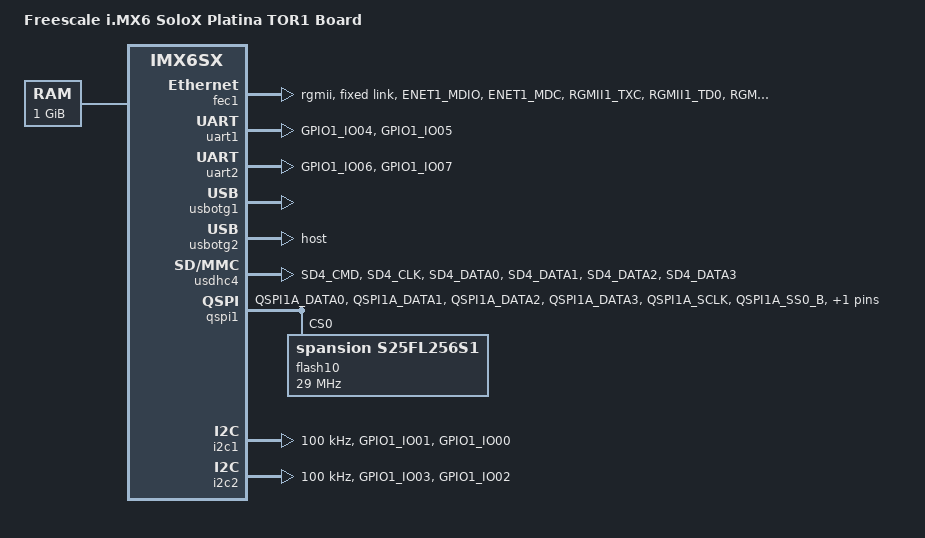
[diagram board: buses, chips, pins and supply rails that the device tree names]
/*
 * Copyright (C) 2015-2016 Platina Systems, Inc.
 *
 * This program is free software; you can redistribute it and/or modify
 * it under the terms of the GNU General Public License version 2 as
 * published by the Free Software Foundation.
 */

/dts-v1/;

#include <dt-bindings/gpio/gpio.h>
#include <dt-bindings/input/input.h>
#include "imx6sx.dtsi"

/ {
	model = "Freescale i.MX6 SoloX Platina TOR1 Board";
	compatible = "platina,platina-TOR1", "fsl,imx6sx-sdb", "fsl,imx6sx";

	chosen {
		stdout-path = &uart1;
	};

	memory {
		reg = <0x80000000 0x40000000>;
	};

};

&fec1 {
	status = "okay";
	pinctrl-names = "default";
	pinctrl-0 = <&pinctrl_enet1>;
	phy-mode = "rgmii";
	fixed-link {
	      speed = <1000>;
	      full-duplex;
	};
};

&uart1 {
	pinctrl-names = "default";
	pinctrl-0 = <&pinctrl_uart1>;
	status = "okay";
};

&uart2 {
	pinctrl-names = "default";
	pinctrl-0 = <&pinctrl_uart2>;
	status = "okay";
};

&usbotg1 {			/* onboard debug */
	pinctrl-names = "default";
	status = "okay";
};


&usbotg2 { 			/* used for front faceplate */
	dr_mode = "host";
	status = "okay";
};


&usdhc4 {
	pinctrl-names = "default";
	pinctrl-0 = <&pinctrl_usdhc4>;
	status = "okay";
};


/* Added new Quad-SPI1 node for TOR1 */
/*   	      	       	    	     */
&qspi1 {
       pinctrl-names = "default";
       pinctrl-0 = <&pinctrl_qspi1>;
       status = "okay";

	ddrsmp = <0>;		/* DDR internal Sampling */

       flash10: s25fl256s1@0 {
		#address-cells = <1>;
		#size-cells = <1>;
		compatible = "spansion,s25fl256s1";
		spi-max-frequency = <29000000>;
		reg = <0>;
	};

/*
	flash11: s25fl512s@1 {
		#address-cells = <1>;
		#size-cells = <1>;
		compatible = "spansion,s25fl512s";
		spi-max-frequency = <29000000>;
		reg = <1>;
	};

     	flash12: s25fl512s@2 {
		#address-cells = <1>;
		#size-cells = <1>;
		compatible = "spansion,s25fl512s";
		spi-max-frequency = <29000000>;
		reg = <2>;
	};

	flash13: s25fl512s@3 {
		#address-cells = <1>;
		#size-cells = <1>;
		compatible = "spansion,s25fl512s";
		spi-max-frequency = <29000000>;
		reg = <3>;
	};

*/

};

/* Node Quad-SPI2 is not used on TOR1 */
/* 		     	      	      */
/*
&qspi2 {
	pinctrl-names = "default";
	pinctrl-0 = <&pinctrl_qspi2>;
	status = "disabled";		
}; */

/* Disabling SPI5 since it's not used on TOR1 	*/
/* and some of its pins are shared w/ QSPI	*/
/* 	     	  	     	      	      
&ecspi5 {
	pinctrl-names = "default";
	pinctrl-0 = <&pinctrl_ecspi5>;
	status = "disabled";	

	spiflash0: macronix@0 {
		#address-cells = <1>;
		#size-cells = <1>;
		compatible = "macronix,mx66l51235l";
		spi-max-frequency = <29000000>;
		reg = <0>;
		partition@0 {
			label = "u-boot";
			reg = <0x00000000 0x00100000>;
		};
		partition@100000 {
			label = "linux";
			reg = <0x00100000 0x04000000>;
		};
	};
}; */

/* not used*/
/*
&ecspi4 {
	pinctrl-names = "default";
	pinctrl-0 = <&pinctrl_ecspi4>;
	status = "okay";
};
*/
&iomuxc {
	pinctrl-names = "default";
	pinctrl-0 = <&pinctrl_hog>;

	platina-TOR1 {
        	pinctrl_hog: hoggrp {
			fsl,pins = <
				MX6SX_PAD_GPIO1_IO08__GPIO1_IO_8	0x07030
				MX6SX_PAD_GPIO1_IO09__GPIO1_IO_9 	0x07030
				MX6SX_PAD_GPIO1_IO10__GPIO1_IO_10	0x00868
				MX6SX_PAD_GPIO1_IO11__GPIO1_IO_11	0x00068
				MX6SX_PAD_GPIO1_IO12__GPIO1_IO_12	0x00068
				MX6SX_PAD_GPIO1_IO13__GPIO1_IO_13	0x00868
				
				MX6SX_PAD_ENET1_COL__GPIO2_IO_0		0x05030
				MX6SX_PAD_ENET2_CRS__GPIO2_IO_7 	0x05030
				MX6SX_PAD_ENET2_RX_CLK__GPIO2_IO_8	0x00068
				MX6SX_PAD_KEY_COL0__GPIO2_IO_10		0x00068
				MX6SX_PAD_KEY_COL1__GPIO2_IO_11		0x00068
				MX6SX_PAD_KEY_COL2__GPIO2_IO_12		0x05030
				MX6SX_PAD_KEY_COL3__GPIO2_IO_13		0x05030
				MX6SX_PAD_KEY_ROW0__GPIO2_IO_15		0x05030
				MX6SX_PAD_KEY_ROW1__GPIO2_IO_16		0x05030
				MX6SX_PAD_KEY_ROW2__GPIO2_IO_17		0x05030
				MX6SX_PAD_KEY_ROW3__GPIO2_IO_18		0x05030

				MX6SX_PAD_LCD1_CLK__GPIO3_IO_0		0x05030
				MX6SX_PAD_LCD1_ENABLE__GPIO3_IO_25	0x00868
				MX6SX_PAD_LCD1_HSYNC__GPIO3_IO_26 	0x00068
				MX6SX_PAD_LCD1_VSYNC__GPIO3_IO_28	0x05030

				MX6SX_PAD_NAND_ALE__GPIO4_IO_0  	0x00068
				MX6SX_PAD_NAND_CE0_B__GPIO4_IO_1 	0x00068
				MX6SX_PAD_NAND_CE1_B__GPIO4_IO_2 	0x00068
				MX6SX_PAD_NAND_CLE__GPIO4_IO_3  	0x05030
				MX6SX_PAD_NAND_DATA00__GPIO4_IO_4 	0x05030
				MX6SX_PAD_NAND_DATA01__GPIO4_IO_5	0x05030
				MX6SX_PAD_NAND_DATA02__GPIO4_IO_6	0x03068	
				MX6SX_PAD_NAND_DATA03__GPIO4_IO_7	0x05030
				MX6SX_PAD_NAND_DATA04__GPIO4_IO_8 	0x05030
				MX6SX_PAD_NAND_DATA05__GPIO4_IO_9 	0x05030
				MX6SX_PAD_NAND_DATA06__GPIO4_IO_10	0x03068
				MX6SX_PAD_NAND_DATA07__GPIO4_IO_11 	0x05030
				MX6SX_PAD_NAND_RE_B__GPIO4_IO_12   	0x07030
				MX6SX_PAD_NAND_READY_B__GPIO4_IO_13	0x00000	/* unused */
				MX6SX_PAD_NAND_WE_B__GPIO4_IO_14        0x00000 /* usused */
				MX6SX_PAD_NAND_WP_B__GPIO4_IO_15 	0x05030

				MX6SX_PAD_QSPI1B_DATA0__GPIO4_IO_24     0x0068
                                MX6SX_PAD_QSPI1B_DATA1__GPIO4_IO_25     0x0068
                                MX6SX_PAD_QSPI1B_DATA2__GPIO4_IO_26     0x0068
                                MX6SX_PAD_QSPI1B_DATA3__GPIO4_IO_27     0x0000 /* unused */
                                MX6SX_PAD_QSPI1B_DQS__GPIO4_IO_28       0x0000 /* unused */
				MX6SX_PAD_QSPI1B_SCLK__GPIO4_IO_29      0x0068
                                MX6SX_PAD_QSPI1B_SS0_B__GPIO4_IO_30     0x0068
                                MX6SX_PAD_QSPI1B_SS1_B__GPIO4_IO_31     0x0068


				MX6SX_PAD_SD2_CLK__GPIO6_IO_6		0x00068
				MX6SX_PAD_SD2_CMD__GPIO6_IO_7  		0x00068
				MX6SX_PAD_SD2_DATA0__GPIO6_IO_8  	0x00868
				MX6SX_PAD_SD2_DATA1__GPIO6_IO_9		0x00868
				MX6SX_PAD_SD2_DATA2__GPIO6_IO_10   	0x00068
				MX6SX_PAD_SD2_DATA3__GPIO6_IO_11 	0x00000	/* unused */
				MX6SX_PAD_SD4_DATA6__GPIO6_IO_20 	0x07030
				MX6SX_PAD_SD4_DATA7__GPIO6_IO_21	0x00068
			>;
		};

		pinctrl_enet1: enet1grp {
			fsl,pins = <
				MX6SX_PAD_ENET1_MDIO__ENET1_MDIO	0xa0b1
				MX6SX_PAD_ENET1_MDC__ENET1_MDC		0xa0b1
				MX6SX_PAD_RGMII1_TXC__ENET1_RGMII_TXC	0xa0b1
				MX6SX_PAD_RGMII1_TD0__ENET1_TX_DATA_0	0xa0b1
				MX6SX_PAD_RGMII1_TD1__ENET1_TX_DATA_1	0xa0b1
				MX6SX_PAD_RGMII1_TD2__ENET1_TX_DATA_2	0xa0b1
				MX6SX_PAD_RGMII1_TD3__ENET1_TX_DATA_3	0xa0b1
				MX6SX_PAD_RGMII1_TX_CTL__ENET1_TX_EN	0xa0b1
				MX6SX_PAD_RGMII1_RXC__ENET1_RX_CLK	0x3081
				MX6SX_PAD_RGMII1_RD0__ENET1_RX_DATA_0	0x3081
				MX6SX_PAD_RGMII1_RD1__ENET1_RX_DATA_1	0x3081
				MX6SX_PAD_RGMII1_RD2__ENET1_RX_DATA_2	0x3081
				MX6SX_PAD_RGMII1_RD3__ENET1_RX_DATA_3	0x3081
				MX6SX_PAD_RGMII1_RX_CTL__ENET1_RX_EN	0x3081
			>;
		};

		pinctrl_i2c1: i2c1grp {
			fsl,pins = <
				MX6SX_PAD_GPIO1_IO01__I2C1_SDA		0x400198b1
				MX6SX_PAD_GPIO1_IO00__I2C1_SCL		0x400198b1
			>;
		};

		pinctrl_i2c2: i2c2grp {
			fsl,pins = <
				MX6SX_PAD_GPIO1_IO03__I2C2_SDA		0x400198b1
				MX6SX_PAD_GPIO1_IO02__I2C2_SCL		0x400198b1
			>;
		};

		pinctrl_i2c3: i2c3grp {
			fsl,pins = <
				MX6SX_PAD_KEY_ROW4__I2C3_SDA		0x400198b1
				MX6SX_PAD_KEY_COL4__I2C3_SCL		0x400198b1
			>;
		};

		pinctrl_uart1: uart1grp {
			fsl,pins = <
				MX6SX_PAD_GPIO1_IO04__UART1_TX		0x1b0b1
				MX6SX_PAD_GPIO1_IO05__UART1_RX		0x1b0b1
			>;
		};

		pinctrl_uart2: uart2grp {
			fsl,pins = <
				MX6SX_PAD_GPIO1_IO06__UART2_TX		0x1b0b1
				MX6SX_PAD_GPIO1_IO07__UART2_RX		0x1b0b1
			>;
		};


		pinctrl_usdhc4: usdhc4grp {
			fsl,pins = <
				MX6SX_PAD_SD4_CMD__USDHC4_CMD		0x17059
				MX6SX_PAD_SD4_CLK__USDHC4_CLK		0x10059
				MX6SX_PAD_SD4_DATA0__USDHC4_DATA0	0x17059
				MX6SX_PAD_SD4_DATA1__USDHC4_DATA1	0x17059
				MX6SX_PAD_SD4_DATA2__USDHC4_DATA2	0x17059
				MX6SX_PAD_SD4_DATA3__USDHC4_DATA3	0x17059
			>;
		};
		
		/* Defined Pins for Quad-SPI1 node */
		/* 	   	    	      	   */
		pinctrl_qspi1: qspi1grp {
			fsl,pins = <
				 MX6SX_PAD_QSPI1A_DATA0__QSPI1_A_DATA_0	  0x70f1	
				 MX6SX_PAD_QSPI1A_DATA1__QSPI1_A_DATA_1	  0x70f1
				 MX6SX_PAD_QSPI1A_DATA2__QSPI1_A_DATA_2   0x70f1
				 MX6SX_PAD_QSPI1A_DATA3__QSPI1_A_DATA_3	  0x70f1
			  	 MX6SX_PAD_QSPI1A_SCLK__QSPI1_A_SCLK 	  0x70f1
				 MX6SX_PAD_QSPI1A_SS0_B__QSPI1_A_SS0_B	  0x70f1
				 MX6SX_PAD_QSPI1A_SS1_B__QSPI1_A_SS1_B	  0x70f1
				/****
				 MX6SX_PAD_QSPI1B_DATA0__QSPI1_B_DATA_0   0x70f1
				 MX6SX_PAD_QSPI1B_DATA1__QSPI1_B_DATA_1   0x70f1
				 MX6SX_PAD_QSPI1B_DATA2__QSPI1_B_DATA_2	  0x70f1
				 MX6SX_PAD_QSPI1B_DATA3__QSPI1_B_DATA_3	  0x70f1
				 MX6SX_PAD_QSPI1B_SCLK__QSPI1_B_SCLK	  0x70f1
				 MX6SX_PAD_QSPI1B_SS0_B__QSPI1_B_SS0_B 	  0x70f1
				 MX6SX_PAD_QSPI1B_SS1_B__QSPI1_B_SS1_B    0x70f1
				****/
			>;
		};

		/* not used */
		/*
		pinctrl_qspi2: qspi2grp {
			fsl,pins = <
				MX6SX_PAD_NAND_WP_B__QSPI2_A_DATA_0     0x70f1
				MX6SX_PAD_NAND_READY_B__QSPI2_A_DATA_1  0x70f1
				MX6SX_PAD_NAND_CE0_B__QSPI2_A_DATA_2    0x70f1
				MX6SX_PAD_NAND_CE1_B__QSPI2_A_DATA_3    0x70f1
				MX6SX_PAD_NAND_CLE__QSPI2_A_SCLK        0x70f1
				MX6SX_PAD_NAND_ALE__QSPI2_A_SS0_B       0x70f1
				MX6SX_PAD_NAND_DATA01__QSPI2_B_DATA_0   0x70f1
				MX6SX_PAD_NAND_DATA00__QSPI2_B_DATA_1   0x70f1
				MX6SX_PAD_NAND_WE_B__QSPI2_B_DATA_2     0x70f1
				MX6SX_PAD_NAND_RE_B__QSPI2_B_DATA_3     0x70f1
				MX6SX_PAD_NAND_DATA02__QSPI2_B_SCLK     0x70f1
				MX6SX_PAD_NAND_DATA03__QSPI2_B_SS0_B    0x70f1
			>;
		};
		*/

	 	/* not used  */
		/*
		pinctrl_ecspi4: ecspi4grp {
			fsl,pins = <
				MX6SX_PAD_SD3_CLK__ECSPI4_SCLK       0x70f1
				MX6SX_PAD_SD3_CMD__ECSPI4_MOSI     0x70f1
				MX6SX_PAD_SD3_DATA2__ECSPI4_SS0        0x70f1
				MX6SX_PAD_SD3_DATA3__ECSPI4_MISO     0x70f1
			>;
		}; 
		*/
		/* Defined Pins for ecspi5 node */
		/* not used    	     */
		/*
		pinctrl_ecspi5: ecspi5grp {
			fsl,pins = <
				MX6SX_PAD_QSPI1A_DQS__ECSPI5_MOSI       0x70f1
				MX6SX_PAD_QSPI1A_SS1_B__ECSPI5_MISO     0x70f1
				MX6SX_PAD_QSPI1B_DQS__ECSPI5_SS0        0x70f1
				MX6SX_PAD_QSPI1B_SS1_B__ECSPI5_SCLK     0x70f1
			>;
		}; */
	};
};

/* 05/09/16: Updated LOCAL_MUX SPI interface for TOR1	*/
/* 	      	  	    		      		*/
&i2c1 {
	clock-frequency = <100000>;
	pinctrl-names = "default";
	pinctrl-0 = <&pinctrl_i2c1>;
	status = "okay";
};

&i2c2 {
        clock-frequency = <100000>;
        pinctrl-names = "default";
        pinctrl-0 = <&pinctrl_i2c2>;
        status = "okay";
};

&i2c3 {
        clock-frequency = <100000>;
        pinctrl-names = "default";
        pinctrl-0 = <&pinctrl_i2c3>;
	status = "disabled";		/* not used */
};

&gpio1 {
	HOST_TO_BMC_INT_L@8 {
		gpio-pin-desc;
	  	input;
	};
	BMC_TO_HOST_NMI_L@9 {
		gpio-pin-desc;
		output-high;
	};
	BMC_TO_HOST_RST_L@10 {
		gpio-pin-desc;
		output-high;
	};
	BMC_TO_HOST_INT_L@11 {
		gpio-pin-desc;
		output-high;
	};
	P3V3_I2C_EN@12 {
		gpio-pin-desc;
		output-high;
	};
	HWM_RST_L@13 {
	     gpio-pin-desc;
	     output-high;
	};
};

&gpio2 {
	HWM_INT_L@0 {
		gpio-pin-desc;
		input;
	};

	UCD9090_INT_L@7 {
		gpio-pin-desc;
		input;
	};

	UCD9090_CNTRL@8 {
		gpio-pin-desc;
		output-high;
	};

	CPU_TO_MAIN_I2C_EN@10 {
		gpio-pin-desc;
		output-low;
	};	      
	CPU_TO_FRU_I2C_EN@11 {
		gpio-pin-desc;
		output-low;
	};
	I2C_SDA_BMC_MON@12 {
		gpio-pin-desc;
		input;
	};
	I2C_SCL_BMC_MON@13 {
		gpio-pin-desc;
		input;
	};
	I2C1_SCL_MON@15 {
		gpio-pin-desc;
		input;
	};
	I2C1_SDA_MON@16 {
		gpio-pin-desc;
		input;
	};
	I2C2_SCL_MON@17 {
		gpio-pin-desc;
		input;
	};
	I2C2_SDA_MON@18 {
		gpio-pin-desc;
		input;
	};
};		   

&gpio3 {
	ETHX_INT_L@0 {
       		gpio-pin-desc;
		input;
  	};
	ETHX_RST_L@25 {
		gpio-pin-desc;
		output-high;
	};
	ETHX_CPU_EEPROM_SEL@26 {
		gpio-pin-desc;
		output-low;
	};
	CPU_PRSNT_L@28 {
		gpio-pin-desc;
		input;
	};
};

&gpio4 {
	P3V3_FAN_EN@0 {
		gpio-pin-desc;
		output-high;
	};
	USB_MUX_SEL@1 {
		gpio-pin-desc;
		input;
	};
	UART_MUX_SEL@2 {
		gpio-pin-desc;
		input;
	};
	FAN_STATUS_INT_L@3 {
		gpio-pin-desc;
		input;
	};
	PSU0_PRSNT_L@4 {
		gpio-pin-desc;
		input;
	};
	PSU0_PWROK@5 {
		gpio-pin-desc;
		input;
	};
	PSU0_PWRON_L@6 {
		gpio-pin-desc;
	  	output-low;
	};
	PSU0_INT_L@7 {
		gpio-pin-desc;
		input;
	};
	PSU1_PRSNT_L@8 {
		gpio-pin-desc;
		input;
	};
	PSU1_PWROK@9 {
		gpio-pin-desc;
		input;
	};
	PSU1_PWRON_L@10 {
		gpio-pin-desc;
	  	output-low;
	};
	PSU1_INT_L@11 {
		gpio-pin-desc;
		input;
	};
	FP_BTN_UARTSEL_EN_L@12 {
		gpio-pin-desc;
		output-high;
	};
        HOST_CPU_PWRBTN_L@14 {
                gpio-pin-desc;
                output-high;
        };
	ALL_PWR_GOOD@15 {
		gpio-pin-desc;
		input;
	};
	MAX6369_SET0@24 {
		gpio-pin-desc;
		output-high;
	};
	MAX6369_SET1@25 {
		gpio-pin-desc;
		output-high;
	};
	MAX6369_SET2@26 {
		gpio-pin-desc;
		output-low;
	};
	BMC_WDI@29 {
		gpio-pin-desc;
		output-low;
	};
	BMC_WD_MUX_EN_L@30 {
		gpio-pin-desc;
		input;
	};
	QSPI_MUX_SEL@31 {
		gpio-pin-desc;
		input;
	};
};

&gpio6 {
        SYSTEM_LED_RST_L@6 {
                gpio-pin-desc;
                output-high;
        };
	HOST_TO_BMC_I2C_GPIO@7 {
		gpio-pin-desc;
		input;
	};
	MAIN_I2C_MUX_RST_L@8 {
		gpio-pin-desc;
		output-high;
	};
	FRU_I2C_MUX_RST_L@9 {
		gpio-pin-desc;
		output-high;
	};
	BMC_TO_UCD_RST_L@10 {
		gpio-pin-desc;
		output-high;
	};
	PMIC_INT_L@20 {
		gpio-pin-desc;
		input;
	};
	QSPI_RST_L@21 {
		gpio-pin-desc;
		output-high;
	};

};	
